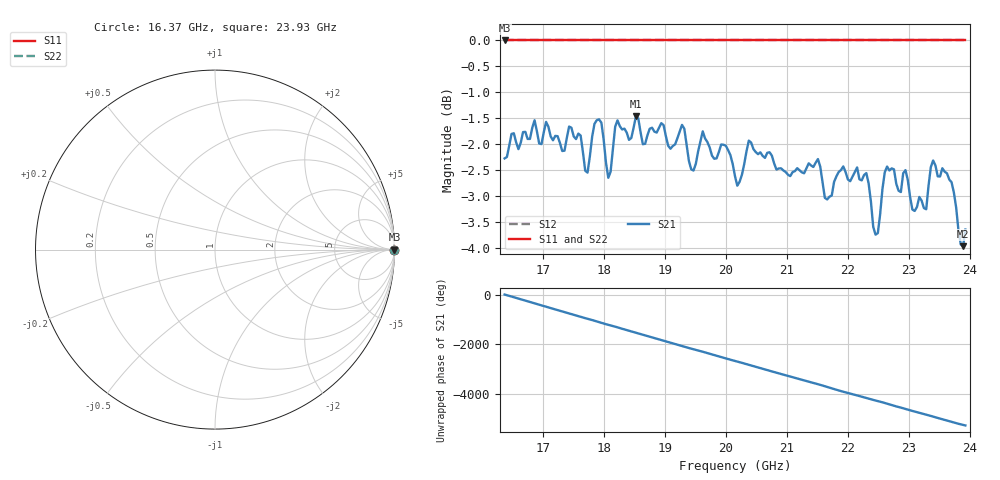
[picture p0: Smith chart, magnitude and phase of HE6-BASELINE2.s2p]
!Agilent N9918A: A.07.57
!Date: Thursday, 22 August 2019 17:30:24
!Timezone: (GMT-08:00) Pacific Time (US & Canada)
!Model: N9918A
!Serial: MY53103598
!GPS Latitude:
!GPS Longitude:
!GPS TimeStamp: 0001-01-01 00:00:00Z
!GPS Seconds Since Last Read: 0
!CHECKSUM:1908678151
!Correction: S11()S21(Rdy)S12()S22()
!S2P File: Measurements:S11,S21,S12,S22:
# Hz S DB R 50
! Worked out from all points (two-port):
!   201 points, 16.37 GHz to 23.93 GHz, reference 50 ohm
!   highest |S21| = -1.46 dB at 18.53 GHz (marker M1); lowest = -4.0 dB at 23.89 GHz (marker M2)
!   |S21| within 3 dB of the highest: start of sweep to end of sweep
!   lowest |S11| = 0.0 dB at 16.37 GHz (marker M3)
!   |S11| at or under -10 dB: nowhere
!   |S22| runs from 0.0 to 0.0 dB; largest |S21 - S12| = 1.8
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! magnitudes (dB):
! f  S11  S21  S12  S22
! 16.37 GHz  0.0  -2.3  0.0  0.0
! 16.86 GHz  0.0  -1.5  0.0  0.0
! 17.66 GHz  0.0  -2.2  0.0  0.0
! 17.92 GHz  0.0  -1.5  0.0  0.0
! 18.07 GHz  0.0  -2.6  0.0  0.0
! 18.22 GHz  0.0  -1.5  0.0  0.0
! 18.53 GHz  0.0  -1.5  0.0  0.0
! 18.9 GHz  0.0  -1.7  0.0  0.0
! 19.28 GHz  0.0  -1.6  0.0  0.0
! 19.47 GHz  0.0  -2.5  0.0  0.0
! 19.62 GHz  0.0  -1.7  0.0  0.0
! 20 GHz  0.0  -2.0  0.0  0.0
! 20.19 GHz  0.0  -2.8  0.0  0.0
! 20.38 GHz  0.0  -1.9  0.0  0.0
! 21.44 GHz  0.0  -2.4  0.0  0.0
! 22.3 GHz  0.0  -2.6  0.0  0.0
! 22.46 GHz  0.0  -3.7  0.0  0.0
! 22.68 GHz  0.0  -2.5  0.0  0.0
! 23.1 GHz  0.0  -3.3  0.0  0.0
! 23.55 GHz  0.0  -2.5  0.0  0.0
! 23.89 GHz  0.0  -4.0  0.0  0.0
! 23.93 GHz  0.0  -3.6  0.0  0.0
